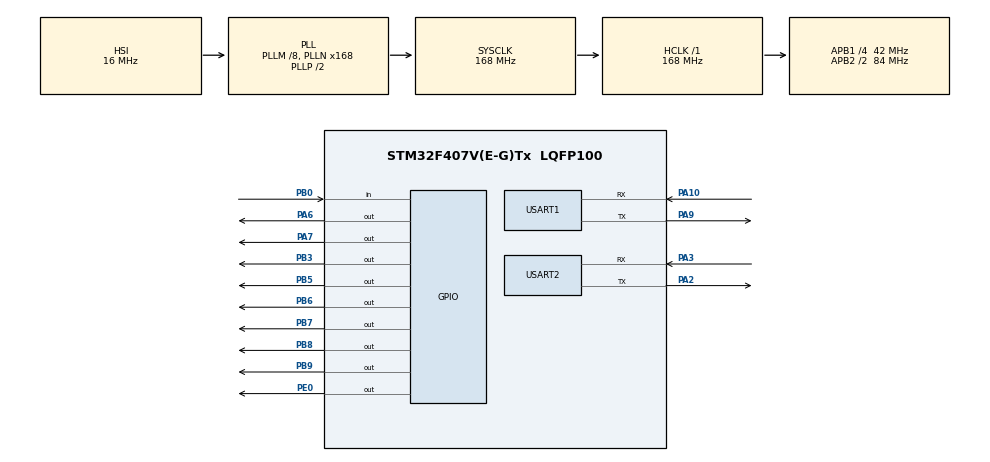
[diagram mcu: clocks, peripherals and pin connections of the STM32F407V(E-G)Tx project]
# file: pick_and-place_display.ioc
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Mcu.Family=STM32F4
Mcu.Name=STM32F407V(E-G)Tx
Mcu.Package=LQFP100
NVIC.PriorityGroup=NVIC_PRIORITYGROUP_4
PA10.Mode=Asynchronous
PA10.Signal=USART1_RX
PA13.Mode=Serial_Wire
PA13.Signal=SYS_JTMS-SWDIO
PA14.Mode=Serial_Wire
PA14.Signal=SYS_JTCK-SWCLK
PA2.Mode=Asynchronous
PA2.Signal=USART2_TX
PA3.Mode=Asynchronous
PA3.Signal=USART2_RX
PA6.Signal=GPIO_Output
PA7.Signal=GPIO_Output
PA9.Mode=Asynchronous
PA9.Signal=USART1_TX
PB0.Signal=GPIO_Input
PB3.Signal=GPIO_Output
PB5.Signal=GPIO_Output
PB6.Signal=GPIO_Output
PB7.Signal=GPIO_Output
PB8.Signal=GPIO_Output
PB9.Signal=GPIO_Output
PE0.Signal=GPIO_Output
PH0-OSC_IN.Mode=HSE-External-Oscillator
PH0-OSC_IN.Signal=RCC_OSC_IN
PH1-OSC_OUT.Mode=HSE-External-Oscillator
PH1-OSC_OUT.Signal=RCC_OSC_OUT
ProjectManager.HeapSize=0x200
ProjectManager.StackSize=0x400
ProjectManager.TargetToolchain=STM32CubeIDE
RCC.48MHZClocksFreq_Value=84000000
RCC.AHBFreq_Value=168000000
RCC.APB1CLKDivider=RCC_HCLK_DIV4
RCC.APB1Freq_Value=42000000
RCC.APB1TimFreq_Value=84000000
RCC.APB2CLKDivider=RCC_HCLK_DIV2
RCC.APB2Freq_Value=84000000
RCC.APB2TimFreq_Value=168000000
RCC.CortexFreq_Value=168000000
RCC.HCLKFreq_Value=168000000
RCC.HSE_VALUE=25000000
RCC.HSI_VALUE=16000000
RCC.LSE_VALUE=32768
RCC.PLLM=8
RCC.PLLN=168
RCC.SYSCLKFreq_VALUE=168000000
RCC.SYSCLKSource=RCC_SYSCLKSOURCE_PLLCLK
RCC.VCOOutputFreq_Value=336000000
USART1.VirtualMode=VM_ASYNC
USART2.VirtualMode=VM_ASYNC
board=custom

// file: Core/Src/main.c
/* USER CODE BEGIN Header */
/**
 ******************************************************************************
 * @file           : main.c
 * @brief          : Main program body
 ******************************************************************************
 * @attention
 *
 * Copyright (c) 2022 STMicroelectronics.
 * All rights reserved.
 *
 * This software is licensed under terms that can be found in the LICENSE file
 * in the root directory of this software component.
 * If no LICENSE file comes with this software, it is provided AS-IS.
 *
 ******************************************************************************
 */
/* USER CODE END Header */
#include "main.h"
#include <stdio.h>
#include <string.h>
/* USER CODE BEGIN Includes */
#define Relay_1_ON HAL_GPIO_WritePin(GPIOB, GPIO_PIN_3, GPIO_PIN_RESET)
#define Relay_1_OFF HAL_GPIO_WritePin(GPIOB, GPIO_PIN_3, GPIO_PIN_SET)

#define Relay_2_ON HAL_GPIO_WritePin(GPIOB, GPIO_PIN_5, GPIO_PIN_RESET)
#define Relay_2_OFF HAL_GPIO_WritePin(GPIOB, GPIO_PIN_5, GPIO_PIN_SET)

#define Relay_3_ON HAL_GPIO_WritePin(GPIOB, GPIO_PIN_6, GPIO_PIN_RESET)
#define Relay_3_OFF HAL_GPIO_WritePin(GPIOB, GPIO_PIN_6, GPIO_PIN_SET)

#define Relay_4_ON HAL_GPIO_WritePin(GPIOB, GPIO_PIN_7, GPIO_PIN_RESET)
#define Relay_4_OFF HAL_GPIO_WritePin(GPIOB, GPIO_PIN_7, GPIO_PIN_SET)

#define SUCTION_ON HAL_GPIO_WritePin(GPIOB, GPIO_PIN_8, GPIO_PIN_RESET)
#define SUCTION_OFF HAL_GPIO_WritePin(GPIOB, GPIO_PIN_8, GPIO_PIN_SET)
/* USER CODE END Includes */

/* USER CODE BEGIN PTD */
int Rx_data[10];
int count[5];
int real_count = 0;
int start = 0;
char msg[100];
char data[10][10];
char splitStrings[10][10]; //can store 10 words of 10 characters
int i, j, cnt;
int init_size = 0;
char delim[] = ",";

char *str1[5];

/* USER CODE END PTD */

UART_HandleTypeDef huart1;
UART_HandleTypeDef huart2;

void SystemClock_Config(void);
static void MX_GPIO_Init(void);
static void MX_USART1_UART_Init(void);
static void MX_USART2_UART_Init(void);

/* USER CODE BEGIN 0 */
void goright() {
	Relay_1_ON;
	Relay_2_OFF;
}

void goleft() {
	Relay_1_OFF;
	Relay_2_ON;
}

void go_up() {
	Relay_3_ON;
	Relay_4_OFF;
}

void go_down() {
	Relay_3_OFF;
	Relay_4_ON;
}

void initialization() {
	goright();
	HAL_GPIO_WritePin(GPIOB, GPIO_PIN_9, GPIO_PIN_SET);
	go_up();
	HAL_Delay(5000);
}

void turnoff_init() {
	Relay_1_OFF;
	Relay_2_OFF;
	Relay_3_OFF;
	Relay_4_OFF;
	HAL_GPIO_WritePin(GPIOB, GPIO_PIN_9, GPIO_PIN_SET);
}

void turnoff() {
	Relay_1_OFF;
	Relay_2_OFF;
	Relay_3_OFF;
	Relay_4_OFF;
}
/* USER CODE END 0 */

int main(void) {

	/* MCU Configuration--------------------------------------------------------*/

	/* Reset of all peripherals, Initializes the Flash interface and the Systick. */
	HAL_Init();

	/* Configure the system clock */
	SystemClock_Config();

	/* Initialize all configured peripherals */
	MX_GPIO_Init();
	MX_USART1_UART_Init();
	MX_USART2_UART_Init();
	/* USER CODE BEGIN 2 */
//	count = 0;
//	dlay = 0;
	initialization();
	turnoff_init();
	HAL_GPIO_WritePin(GPIOA, GPIO_PIN_7, GPIO_PIN_RESET);
	HAL_GPIO_WritePin(GPIOA, GPIO_PIN_6, GPIO_PIN_RESET);
//	HAL_Delay(10000)
	/* USER CODE END 2 */

	/* Infinite loop */
	while (1) {

		/* USER CODE BEGIN 3 */
		if (HAL_UART_Receive(&huart1, Rx_data, 10, 1500) == HAL_OK) {
			HAL_UART_Transmit(&huart2, Rx_data, 10, 1500);
			HAL_Delay(1000);

			init_size = strlen(Rx_data);
			char *ptr = strtok(Rx_data, delim);

			while (ptr != NULL) {
				for (int i = 0; i <= 4; i++) {

					// printf("'%s'\n", ptr);
					str1[i] = ptr;
//					printf("'%s'\n", str1[i]);

//					sprintf(msg, "%s,%d\r\n", str1[i], i);
//					HAL_UART_Transmit(&huart2, (uint8_t*) msg, strlen(msg),
//							100);
					count[i] = atoi(str1[i]);
					sprintf(msg, "count=%d\r\n", count[i]);
					HAL_UART_Transmit(&huart2, (uint8_t*) msg, strlen(msg),
							100);
					ptr = strtok(NULL, delim);

				}
			}
			for (int i = 0; i < 5; i++) {
				count[i] = atoi(str1[i]);
				sprintf(msg, "cou=%d\r\n", count[i]);
				HAL_UART_Transmit(&huart2, (uint8_t*) msg, strlen(msg), 100);
			}
		}

//		HAL_UART_Transmit(&huart2, Rx_data, sizeof(Rx_data), 100);

		if (count[0] != 0 && count[1] != 0) {
			count[1] = count[1] * 1000; // up
			count[2] = count[2] * 1000; //down
			count[3] = count[3] * 1000; //right
			sprintf(msg,
					"inside count loop... count=%d,delayup= %d,delaydown= %d,delayright= %d\r\n",
					count[0], count[1], count[2], count[3]);
			HAL_UART_Transmit(&huart2, (uint8_t*) msg, strlen(msg), 100);

			//data received from arduino
			start = 1;

		}
		while (start == 1) {
			if ((HAL_GPIO_ReadPin(GPIOB, GPIO_PIN_0) == GPIO_PIN_SET)) {
				sprintf(msg,
						"inside start loop... count=%d,delayup= %d,delaydown= %d,delayright= %d\r\n",
						count[0], count[1], count[2], count[3]);
				HAL_UART_Transmit(&huart2, (uint8_t*) msg, strlen(msg), 100);
				while (count[0] > real_count) {
					go_down(); // coming down R3 off, R4 On
					HAL_Delay(count[2]);
					turnoff();
					HAL_GPIO_WritePin(GPIOB, GPIO_PIN_9, GPIO_PIN_RESET); //suction on
					go_up(); //Go Up, R3 On, R4 off
					HAL_Delay(count[1]);
					turnoff();
					goleft();    ///// go left R1 Off, R2 On
					HAL_Delay(count[3]);
					turnoff();
					HAL_GPIO_WritePin(GPIOB, GPIO_PIN_9, GPIO_PIN_SET); //suction off
					HAL_Delay(200);
					goright();      // Go right R1 On, R2 Off
					HAL_Delay(count[3]);
					turnoff();
					real_count++;
					sprintf(msg,
							"inside real loop... count=%d,delayup= %d,delaydown= %d,delayright= %d,real_count=%d\r\n",
							count[0], count[1], count[2], count[3], real_count);
					HAL_UART_Transmit(&huart2, (uint8_t*) msg, strlen(msg),
							100);
					sprintf(msg,"real_count=%d\r\n",real_count);
					HAL_UART_Transmit(&huart1, (uint8_t*) msg, strlen(msg),
							100);
				}
				if (count[0] <= real_count) {
					start = 0;
					real_count = 0;
					count[0] = 0;
					count[1] = 0;
					HAL_UART_Transmit(&huart1, "a", 1, 100);
					sprintf(msg,
							"inside final loop...  count=%d,delayup= %d,delaydown= %d,delayright= %d,real_count=%d\r\n",
							count[0], count[1], count[2], count[3], real_count);
					HAL_UART_Transmit(&huart2, (uint8_t*) msg, strlen(msg),
							100);

				}
			}
		}

	}
	/* USER CODE END 3 */
}

void SystemClock_Config(void) {
	RCC_OscInitTypeDef RCC_OscInitStruct = { 0 };
	RCC_ClkInitTypeDef RCC_ClkInitStruct = { 0 };

	/** Configure the main internal regulator output voltage
	 */
	__HAL_RCC_PWR_CLK_ENABLE();
	__HAL_PWR_VOLTAGESCALING_CONFIG(PWR_REGULATOR_VOLTAGE_SCALE1);
	/** Initializes the RCC Oscillators according to the specified parameters
	 * in the RCC_OscInitTypeDef structure.
	 */
	RCC_OscInitStruct.OscillatorType = RCC_OSCILLATORTYPE_HSI;
	RCC_OscInitStruct.HSIState = RCC_HSI_ON;
	RCC_OscInitStruct.HSICalibrationValue = RCC_HSICALIBRATION_DEFAULT;
	RCC_OscInitStruct.PLL.PLLState = RCC_PLL_ON;
	RCC_OscInitStruct.PLL.PLLSource = RCC_PLLSOURCE_HSI;
	RCC_OscInitStruct.PLL.PLLM = 8;
	RCC_OscInitStruct.PLL.PLLN = 168;
	RCC_OscInitStruct.PLL.PLLP = RCC_PLLP_DIV2;
	RCC_OscInitStruct.PLL.PLLQ = 4;
	if (HAL_RCC_OscConfig(&RCC_OscInitStruct) != HAL_OK) {
		Error_Handler();
	}
	/** Initializes the CPU, AHB and APB buses clocks
	 */
	RCC_ClkInitStruct.ClockType = RCC_CLOCKTYPE_HCLK | RCC_CLOCKTYPE_SYSCLK
			| RCC_CLOCKTYPE_PCLK1 | RCC_CLOCKTYPE_PCLK2;
	RCC_ClkInitStruct.SYSCLKSource = RCC_SYSCLKSOURCE_PLLCLK;
	RCC_ClkInitStruct.AHBCLKDivider = RCC_SYSCLK_DIV1;
	RCC_ClkInitStruct.APB1CLKDivider = RCC_HCLK_DIV4;
	RCC_ClkInitStruct.APB2CLKDivider = RCC_HCLK_DIV2;

	if (HAL_RCC_ClockConfig(&RCC_ClkInitStruct, FLASH_LATENCY_5) != HAL_OK) {
		Error_Handler();
	}
}

static void MX_USART1_UART_Init(void) {

	huart1.Instance = USART1;
	huart1.Init.BaudRate = 115200;
	huart1.Init.WordLength = UART_WORDLENGTH_8B;
	huart1.Init.StopBits = UART_STOPBITS_1;
	huart1.Init.Parity = UART_PARITY_NONE;
	huart1.Init.Mode = UART_MODE_TX_RX;
	huart1.Init.HwFlowCtl = UART_HWCONTROL_NONE;
	huart1.Init.OverSampling = UART_OVERSAMPLING_16;
	if (HAL_UART_Init(&huart1) != HAL_OK) {
		Error_Handler();
	}

}

static void MX_USART2_UART_Init(void) {

	huart2.Instance = USART2;
	huart2.Init.BaudRate = 115200;
	huart2.Init.WordLength = UART_WORDLENGTH_8B;
	huart2.Init.StopBits = UART_STOPBITS_1;
	huart2.Init.Parity = UART_PARITY_NONE;
	huart2.Init.Mode = UART_MODE_TX_RX;
	huart2.Init.HwFlowCtl = UART_HWCONTROL_NONE;
	huart2.Init.OverSampling = UART_OVERSAMPLING_16;
	if (HAL_UART_Init(&huart2) != HAL_OK) {
		Error_Handler();
	}

}

static void MX_GPIO_Init(void) {
	GPIO_InitTypeDef GPIO_InitStruct = { 0 };

	/* GPIO Ports Clock Enable */
	__HAL_RCC_GPIOH_CLK_ENABLE();
	__HAL_RCC_GPIOA_CLK_ENABLE();
	__HAL_RCC_GPIOB_CLK_ENABLE();
	__HAL_RCC_GPIOE_CLK_ENABLE();

	/*Configure GPIO pin Output Level */
	HAL_GPIO_WritePin(GPIOA, GPIO_PIN_6 | GPIO_PIN_7, GPIO_PIN_RESET);

	/*Configure GPIO pin Output Level */
	HAL_GPIO_WritePin(GPIOB,
	GPIO_PIN_3 | GPIO_PIN_5 | GPIO_PIN_6 | GPIO_PIN_7 | GPIO_PIN_8 | GPIO_PIN_9,
			GPIO_PIN_RESET);

	/*Configure GPIO pin Output Level */
	HAL_GPIO_WritePin(GPIOE, GPIO_PIN_0, GPIO_PIN_RESET);

	/*Configure GPIO pins : PA6 PA7 */
	GPIO_InitStruct.Pin = GPIO_PIN_6 | GPIO_PIN_7;
	GPIO_InitStruct.Mode = GPIO_MODE_OUTPUT_PP;
	GPIO_InitStruct.Pull = GPIO_NOPULL;
	GPIO_InitStruct.Speed = GPIO_SPEED_FREQ_LOW;
	HAL_GPIO_Init(GPIOA, &GPIO_InitStruct);

	/*Configure GPIO pin : PB0 */
	GPIO_InitStruct.Pin = GPIO_PIN_0;
	GPIO_InitStruct.Mode = GPIO_MODE_INPUT;
	GPIO_InitStruct.Pull = GPIO_NOPULL;
	HAL_GPIO_Init(GPIOB, &GPIO_InitStruct);

	/*Configure GPIO pins : PB3 PB5 PB6 PB7
	 PB8 PB9 */
	GPIO_InitStruct.Pin = GPIO_PIN_3 | GPIO_PIN_5 | GPIO_PIN_6 | GPIO_PIN_7
			| GPIO_PIN_8 | GPIO_PIN_9;
	GPIO_InitStruct.Mode = GPIO_MODE_OUTPUT_PP;
	GPIO_InitStruct.Pull = GPIO_NOPULL;
	GPIO_InitStruct.Speed = GPIO_SPEED_FREQ_LOW;
	HAL_GPIO_Init(GPIOB, &GPIO_InitStruct);

	/*Configure GPIO pin : PE0 */
	GPIO_InitStruct.Pin = GPIO_PIN_0;
	GPIO_InitStruct.Mode = GPIO_MODE_OUTPUT_PP;
	GPIO_InitStruct.Pull = GPIO_NOPULL;
	GPIO_InitStruct.Speed = GPIO_SPEED_FREQ_LOW;
	HAL_GPIO_Init(GPIOE, &GPIO_InitStruct);

}

void Error_Handler(void) {
	__disable_irq();
	while (1) {
	}
}
